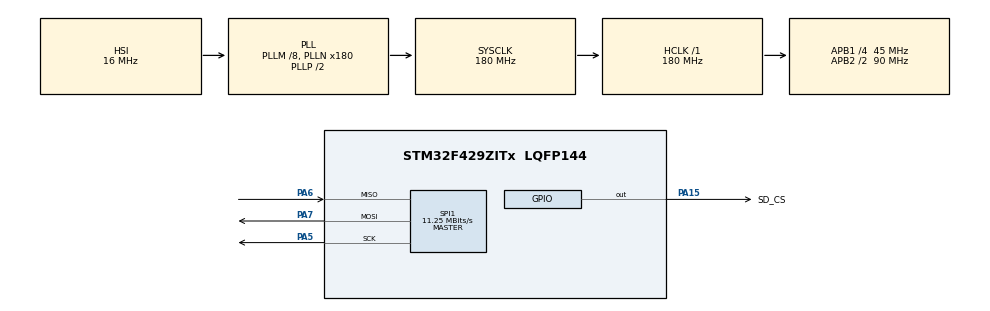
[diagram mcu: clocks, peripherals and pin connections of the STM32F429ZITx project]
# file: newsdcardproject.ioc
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Mcu.Family=STM32F4
PA6.Mode=Full_Duplex_Master
RCC.CortexFreq_Value=180000000
PA7.Mode=Full_Duplex_Master
FATFS._USE_LFN=2
SPI1.VirtualType=VM_MASTER
RCC.APB1CLKDivider=RCC_HCLK_DIV4
RCC.SYSCLKSource=RCC_SYSCLKSOURCE_PLLCLK
ProjectManager.StackSize=0x400
PA15.GPIO_Label=SD_CS
ProjectManager.TargetToolchain=STM32CubeIDE
SPI1.Direction=SPI_DIRECTION_2LINES
PH0/OSC_IN.Mode=HSE-External-Oscillator
RCC.HCLKFreq_Value=180000000
RCC.APB2TimFreq_Value=180000000
PH1/OSC_OUT.Signal=RCC_OSC_OUT
SPI1.CalculateBaudRate=11.25 MBits/s
RCC.LSE_VALUE=32768
RCC.AHBFreq_Value=180000000
VP_FATFS_VS_Generic.Mode=User_defined
PA5.Signal=SPI1_SCK
RCC.HSE_VALUE=25000000
board=custom
RCC.VCOOutputFreq_Value=360000000
PH0/OSC_IN.Signal=RCC_OSC_IN
RCC.APB2Freq_Value=90000000
SPI1.Mode=SPI_MODE_MASTER
PH1/OSC_OUT.Mode=HSE-External-Oscillator
Mcu.Name=STM32F429ZITx
FATFS._MAX_SS=4096
RCC.48MHZClocksFreq_Value=90000000
RCC.SYSCLKFreq_VALUE=180000000
Mcu.Package=LQFP144
PA6.Signal=SPI1_MISO
PA15.Signal=GPIO_Output
ProjectManager.HeapSize=0x200
RCC.HSI_VALUE=16000000
NVIC.PriorityGroup=NVIC_PRIORITYGROUP_4
RCC.APB2CLKDivider=RCC_HCLK_DIV2
RCC.PLLM=8
RCC.PLLN=180
RCC.APB1TimFreq_Value=90000000
RCC.APB1Freq_Value=45000000
SPI1.BaudRatePrescaler=SPI_BAUDRATEPRESCALER_8
PA5.Mode=Full_Duplex_Master
PA7.Signal=SPI1_MOSI

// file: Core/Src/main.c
/* USER CODE BEGIN Header */
/**
  ******************************************************************************
  * @file           : main.c
  * @brief          : Main program body
  ******************************************************************************
  * @attention
  *
  * <h2><center>&copy; Copyright (c) 2021 STMicroelectronics.
  * All rights reserved.</center></h2>
  *
  * This software component is licensed by ST under BSD 3-Clause license,
  * the "License"; You may not use this file except in compliance with the
  * License. You may obtain a copy of the License at:
  *                        opensource.org/licenses/BSD-3-Clause
  *
  ******************************************************************************
  */
/* USER CODE END Header */
#include "main.h"
#include "fatfs.h"

/* USER CODE BEGIN Includes */
#include "fatfs_sd.h"
#include "string.h"
#include <math.h>
/* USER CODE END Includes */

SPI_HandleTypeDef hspi1;

/* USER CODE BEGIN PV */
FATFS fs;		//	file system
FIL fil;		// file
FRESULT fresult;	//	store result

char buffer[70000];	//	to store data
int hist[256] = {0};
//int newGrayHist[256] = {0};
//int idealPixelCount[256] = {0};

char destbuffer[69840];

//char *destbuffer;
UINT br, bw;	//	file read/write count

/*	capacity related variables	*/
FATFS *pfs;
DWORD fre_clust;
uint32_t total, free_space;

/* USER CODE END PV */

void SystemClock_Config(void);
static void MX_GPIO_Init(void);
static void MX_SPI1_Init(void);

/* USER CODE BEGIN 0 */
int _write(int file, char *ptr, int len)
{
  /* Implement your write code here, this is used by puts and printf for example */
  for(int i=0 ; i<len ; i++)
    ITM_SendChar((*ptr++));
  return len;
}

//	find size of data in buffer
int bufsize(char *buf){
	int i=0;
	while(*buf++ != '\0'){
		i++;
	}
	return i;
}

//	@@@@@@@@@@@@@@@@@@@@@@@@@@@@@@@@@@@@@@@@@@@@@	MAYBE COULD BE ADJUSTED BC I PUT BUFFER IN HEAP INSTEAD OF BSS? - "free"***
void bufclear(char * buf, int size){
	memset(buf, 0, size);
}

void *unpackbits(char *testbuf, char *testdestbuf, int destcount) {

  	int runlength;

  	while (destcount > 0) {
  		runlength = *testbuf++;
  		if (runlength == -128)
  			continue;
  		else if (runlength >= 128)
  		{
  			runlength = 256 - runlength + 1;
  			if (runlength > destcount)
  				return NULL;
  			memset(testdestbuf, *testbuf, runlength);
  			testbuf += 1;
  			testdestbuf += runlength;
  		}
  		else
  		{
  			++runlength;
  			if (runlength > destcount)
  				return NULL;
  			memcpy(testdestbuf, testbuf, runlength);
  			testbuf += runlength;
  			testdestbuf += runlength;
  		}
  		destcount -= runlength;
  	}

}

void histogramEqualization(char *inputbuffer, int bufferSize) {
	int i;

	for(i = 0; i < bufferSize; i++){
		hist[(int)*inputbuffer++]++;
	}

	int newGrayHist[256] = {0};
	float idealPixelCount[256];
	for(i = 1; i < 256; i++){ //cumulative probability pixel counts
		newGrayHist[i] = newGrayHist[i-1] + hist[i];
	}

	for(i = 0; i < 256; i++){ //
		idealPixelCount[i] = (float)(newGrayHist[i]*255)/(float)(bufferSize-1);
	}

	for(i = 0; i < bufferSize; i++){
		buffer[i] = (int)idealPixelCount[destbuffer[i]];
	}
}

/* USER CODE END 0 */

int main(void)
{
  /* USER CODE BEGIN 1 */
	 HAL_Init();

	  FATFS FatFs; 	//Fatfs handle
	  FIL fil; 		//File handle
	  FRESULT fres;
  /* USER CODE END 1 */

  /* MCU Configuration--------------------------------------------------------*/

  /* Reset of all peripherals, Initializes the Flash interface and the Systick. */
  HAL_Init();

  /* Configure the system clock */
  SystemClock_Config();

  /* Initialize all configured peripherals */
  MX_GPIO_Init();
  MX_SPI1_Init();
  MX_FATFS_Init();
  /* USER CODE BEGIN 2 */

  HAL_Delay(1000);	//	delay for SD card to process mounting

  //	Mount SD Card
  fresult = f_mount(&fs, "/", 1);
  if (fresult != FR_OK) //printf ("ERROR!!! in mounting SD CARD...\n\n");
	  printf("Error in mounting SD CARD...\n\n");
  else printf("SD CARD mounted successfully...\n\n");

  /*********************	Card Capacity Details	***********************/
  f_getfree("", &fre_clust, &pfs);

  total = (uint32_t)((pfs->n_fatent - 2) * pfs->csize * 0.5);
  sprintf(buffer, "SD CARD Total Size: \t%lu\n", total);
  printf(buffer);
  bufclear(buffer, strlen(buffer));
  free_space = (uint32_t)(fre_clust * pfs->csize * 0.5);
  sprintf(buffer, "SD CARD Free Space: \t%lu\n", free_space);
  printf(buffer);
  bufclear(buffer, strlen(buffer));

  /************* The following operation is using PUTS and GETS *********************/

	/* Open file to write/ create a file if it doesn't exist */
//	fresult = f_open(&fil, "poutcrop.tif", FA_OPEN_ALWAYS | FA_READ | FA_WRITE);

	/* Writing text */
//	f_puts("This data is from the FILE1.txt. And it was written using ...f_puts... ", &fil);

	/* Close file */
//	fresult = f_close(&fil);

//	if (fresult == FR_OK)printf ("File1.txt created and the data is written \n");

  bufclear(buffer, strlen(buffer));
  bufclear(destbuffer, strlen(destbuffer));

	/* Open file to read */
  fresult = f_open(&fil, "pout.tif", FA_READ);
  f_read (&fil, buffer, f_size(&fil), &br);
  if(fres == FR_OK) {
	  while(1){
	  }
  }

  // FIND OUT HOW TO GET PIXEL COUNT OR NUMBER OF PIXELS
  int imgSize = 69841;
  int slaveSize = 26190;
  int masterSize = 17460;
  // SLAVES GET 26190
  // MASTER GETS 17460

  unpackbits(buffer + 8, destbuffer, 69840+1);
  bufclear(buffer, strlen(buffer));

  //	#ifndef entire image
  histogramEqualization(destbuffer, imgSize);

  //	#ifndef master
//  histogramEqualization(destbuffer, masterSize);

//  //	#ifndef slave
//  histogramEqualization(destbuffer + masterSize, slaveSize);
//
//  //	#ifndef other slave
//  histogramEqualization(destbuffer + masterSize + slaveSize, slaveSize);

  fres = f_open(&fil, "pout.txt", FA_WRITE | FA_OPEN_APPEND | FA_CREATE_ALWAYS);

  char s3[961];
  char s4[10];
  int byteSizeWrote = 0;

  int i = 0;
  int lineInc = 1;
  int newLineCount = 291;
  int totalPixelSize = 69840;

// CONVERT DATA TO STRING AND COPIES TO TXT FILE ONE LINE AT A TIME
  for(i = 0; i < totalPixelSize; i++){
	  if((int)buffer[i] > 99){
		  byteSizeWrote = byteSizeWrote+4;
	  } else if ((int)buffer[i] > 9){
		  byteSizeWrote = byteSizeWrote+3;
	  } else {
		  byteSizeWrote = byteSizeWrote+2;
	  }
	  if(i == 0 || byteSizeWrote == 0){ // if start
		  sprintf(s3, "%d", (int)buffer[i]);
		  sprintf(s4, "%s", ",");
		  strcat(s3,s4);
//		  newLineFlag = 1;
	  } else if(i == totalPixelSize){ //last line
		  sprintf(s4, "%d", (int)buffer[i]);
		  strcat(s3, s4);
		  	  } else if (i == ((totalPixelSize/newLineCount)*lineInc)-1) { // if last line
		  		  lineInc++;
		  		  sprintf(s4, "%d", (int)buffer[i]);
		  		  strcat(s3, s4);
		  		  sprintf(s4, "%c", 13);
		  		  strcat(s3, s4);
		  		  sprintf(s4, "%c", 10);
		  		  strcat(s3, s4);
		  		  byteSizeWrote = byteSizeWrote + 1;
		  		  fres = f_write(&fil, (char*)s3, byteSizeWrote, &bw);
		  		  if(fres == FR_OK) {
		  		  }
		  		  byteSizeWrote = 0;
		  		  bufclear(s3, strlen(s3));
//		  		  newLineFlag = 0;
		  	  } else {
		  		  sprintf(s4, "%d", (int)buffer[i]);
		  		  strcat(s3, s4);
		  		  sprintf(s4, "%s", ",");
		  		  strcat(s3, s4);
		  	  }
  }

  /* Close file */
  f_close(&fil);
  //We're done, so de-mount the drive
  f_mount(NULL, "", 0);
  /* USER CODE END 2 */

  /* Infinite loop */
  while (1)
  {

  }
}

void SystemClock_Config(void)
{
  RCC_OscInitTypeDef RCC_OscInitStruct = {0};
  RCC_ClkInitTypeDef RCC_ClkInitStruct = {0};

  /** Configure the main internal regulator output voltage
  */
  __HAL_RCC_PWR_CLK_ENABLE();
  __HAL_PWR_VOLTAGESCALING_CONFIG(PWR_REGULATOR_VOLTAGE_SCALE1);
  /** Initializes the RCC Oscillators according to the specified parameters
  * in the RCC_OscInitTypeDef structure.
  */
  RCC_OscInitStruct.OscillatorType = RCC_OSCILLATORTYPE_HSI;
  RCC_OscInitStruct.HSIState = RCC_HSI_ON;
  RCC_OscInitStruct.HSICalibrationValue = RCC_HSICALIBRATION_DEFAULT;
  RCC_OscInitStruct.PLL.PLLState = RCC_PLL_ON;
  RCC_OscInitStruct.PLL.PLLSource = RCC_PLLSOURCE_HSI;
  RCC_OscInitStruct.PLL.PLLM = 8;
  RCC_OscInitStruct.PLL.PLLN = 180;
  RCC_OscInitStruct.PLL.PLLP = RCC_PLLP_DIV2;
  RCC_OscInitStruct.PLL.PLLQ = 4;
  if (HAL_RCC_OscConfig(&RCC_OscInitStruct) != HAL_OK)
  {
    Error_Handler();
  }
  /** Activate the Over-Drive mode
  */
  if (HAL_PWREx_EnableOverDrive() != HAL_OK)
  {
    Error_Handler();
  }
  /** Initializes the CPU, AHB and APB buses clocks
  */
  RCC_ClkInitStruct.ClockType = RCC_CLOCKTYPE_HCLK|RCC_CLOCKTYPE_SYSCLK
                              |RCC_CLOCKTYPE_PCLK1|RCC_CLOCKTYPE_PCLK2;
  RCC_ClkInitStruct.SYSCLKSource = RCC_SYSCLKSOURCE_PLLCLK;
  RCC_ClkInitStruct.AHBCLKDivider = RCC_SYSCLK_DIV1;
  RCC_ClkInitStruct.APB1CLKDivider = RCC_HCLK_DIV4;
  RCC_ClkInitStruct.APB2CLKDivider = RCC_HCLK_DIV2;

  if (HAL_RCC_ClockConfig(&RCC_ClkInitStruct, FLASH_LATENCY_5) != HAL_OK)
  {
    Error_Handler();
  }
}

static void MX_SPI1_Init(void)
{

  /* SPI1 parameter configuration*/
  hspi1.Instance = SPI1;
  hspi1.Init.Mode = SPI_MODE_MASTER;
  hspi1.Init.Direction = SPI_DIRECTION_2LINES;
  hspi1.Init.DataSize = SPI_DATASIZE_8BIT;
  hspi1.Init.CLKPolarity = SPI_POLARITY_LOW;
  hspi1.Init.CLKPhase = SPI_PHASE_1EDGE;
  hspi1.Init.NSS = SPI_NSS_SOFT;
  hspi1.Init.BaudRatePrescaler = SPI_BAUDRATEPRESCALER_8;
  hspi1.Init.FirstBit = SPI_FIRSTBIT_MSB;
  hspi1.Init.TIMode = SPI_TIMODE_DISABLE;
  hspi1.Init.CRCCalculation = SPI_CRCCALCULATION_DISABLE;
  hspi1.Init.CRCPolynomial = 10;
  if (HAL_SPI_Init(&hspi1) != HAL_OK)
  {
    Error_Handler();
  }

}

static void MX_GPIO_Init(void)
{
  GPIO_InitTypeDef GPIO_InitStruct = {0};

  /* GPIO Ports Clock Enable */
  __HAL_RCC_GPIOH_CLK_ENABLE();
  __HAL_RCC_GPIOA_CLK_ENABLE();

  /*Configure GPIO pin Output Level */
  HAL_GPIO_WritePin(SD_CS_GPIO_Port, SD_CS_Pin, GPIO_PIN_RESET);

  /*Configure GPIO pin : SD_CS_Pin */
  GPIO_InitStruct.Pin = SD_CS_Pin;
  GPIO_InitStruct.Mode = GPIO_MODE_OUTPUT_PP;
  GPIO_InitStruct.Pull = GPIO_NOPULL;
  GPIO_InitStruct.Speed = GPIO_SPEED_FREQ_LOW;
  HAL_GPIO_Init(SD_CS_GPIO_Port, &GPIO_InitStruct);

}

void Error_Handler(void)
{
  __disable_irq();
  while (1)
  {
  }
}

/************************ (C) COPYRIGHT STMicroelectronics *****END OF FILE****/
